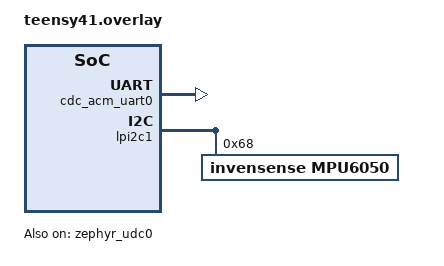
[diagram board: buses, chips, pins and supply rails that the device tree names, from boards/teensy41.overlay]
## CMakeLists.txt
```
#
# Copyright (c) 2019 Nordic Semiconductor ASA
#
# SPDX-License-Identifier: Apache-2.0
#

cmake_minimum_required(VERSION 3.20.0)
find_package(Zephyr REQUIRED HINTS $ENV{ZEPHYR_BASE})
project(teensyTest)

FILE(GLOB app_sources src/*.c)
target_sources(app PRIVATE ${app_sources})
```

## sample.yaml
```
#
# Copyright (c) 2019 Nordic Semiconductor ASA
#
# SPDX-License-Identifier: Apache-2.0
#

sample:
  name: MPU6050 Sensor Sample
tests:
  sample.sensor.mpu6050:
    build_only: true
    platform_allow: teensy41
    tags: sensors
    integration_platforms:
      - teensy41
```

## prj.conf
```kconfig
#
# Copyright (c) 2019 Nordic Semiconductor ASA
#
# SPDX-License-Identifier: Apache-2.0
#

CONFIG_I2C=y
CONFIG_SENSOR=y
# CONFIG_LOG=y
# CONFIG_CONSOLE = y
# CONFIG_SERIAL = y
# CONFIG_BOOT_BANNER = y
CONFIG_MPU6050_TRIGGER_NONE=y
CONFIG_CBPRINTF_FP_SUPPORT=y


CONFIG_USB_DEVICE_STACK=y
CONFIG_USB_DEVICE_PRODUCT="Zephyr USB console sample"
CONFIG_USB_DEVICE_PID=0x0004
CONFIG_USB_DEVICE_INITIALIZE_AT_BOOT=n

CONFIG_SERIAL=y
CONFIG_CONSOLE=y
CONFIG_UART_CONSOLE=y
CONFIG_UART_LINE_CTRL=y
```

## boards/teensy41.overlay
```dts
/ {
    chosen {
	zephyr,console = &cdc_acm_uart0;
};
};


&zephyr_udc0 {
	compatible = "nxp,mcux-usbd";
	status = "okay";
	cdc_acm_uart0: cdc_acm_uart0{
		compatible = "zephyr,cdc-acm-uart";
	};
};


&lpi2c1 {
   status = "ok";
	mpu6050@68 {
		compatible = "invensense,mpu6050";
		reg = <0x68>;
		status = "okay";
	};
};
```

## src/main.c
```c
#include <zephyr/kernel.h>
#include <zephyr/device.h>
#include <zephyr/devicetree.h>
#include <zephyr/drivers/sensor.h>
#include <zephyr/logging/log.h>
#include <zephyr/drivers/gpio.h>
#include <zephyr/usb/usb_device.h>
#include <zephyr/drivers/sensor.h>
#include <stdio.h>

#define SLEEP_TIME_MS   200
#define LED0_NODE DT_NODELABEL(board_led)
static const struct gpio_dt_spec led = GPIO_DT_SPEC_GET(LED0_NODE, gpios);

static const char *now_str(void)
{
	static char buf[16]; /* ...HH:MM:SS.MMM */
	uint32_t now = k_uptime_get_32();
	unsigned int ms = now % MSEC_PER_SEC;
	unsigned int s;
	unsigned int min;
	unsigned int h;

	now /= MSEC_PER_SEC;
	s = now % 60U;
	now /= 60U;
	min = now % 60U;
	now /= 60U;
	h = now;

	snprintf(buf, sizeof(buf), "%u:%02u:%02u.%03u",
		 h, min, s, ms);
	return buf;
}

static int process_mpu6050(const struct device *dev)
{
	struct sensor_value temperature;
	struct sensor_value accel[3];
	struct sensor_value gyro[3];
	int rc = sensor_sample_fetch(dev);

	if (rc == 0) {
		rc = sensor_channel_get(dev, SENSOR_CHAN_ACCEL_XYZ,
					accel);
	}
	if (rc == 0) {
		rc = sensor_channel_get(dev, SENSOR_CHAN_GYRO_XYZ,
					gyro);
	}
	if (rc == 0) {
		rc = sensor_channel_get(dev, SENSOR_CHAN_AMBIENT_TEMP,
					&temperature);
	}
	if (rc == 0) {
		printk("[%s]:%g Cel\n"
		       "  accel %f %f %f m/s/s\n"
		       "  gyro  %f %f %f rad/s\n",
		       now_str(),
		       sensor_value_to_double(&temperature),
		       sensor_value_to_double(&accel[0]),
		       sensor_value_to_double(&accel[1]),
		       sensor_value_to_double(&accel[2]),
		       sensor_value_to_double(&gyro[0]),
		       sensor_value_to_double(&gyro[1]),
		       sensor_value_to_double(&gyro[2]));
	} else {
		printk("sample fetch/get failed: %d\n", rc);
	}

	return rc;
}

void main(void)
{

	
    usb_enable(NULL);

    int ret;

	const struct device *dev = DEVICE_DT_GET_ONE(invensense_mpu6050);

    if (dev != NULL)
    {
        printk("\nDevice found on Teensy DTS");
    }

    if (device_is_ready(dev))
    {
        ret = gpio_pin_toggle_dt(&led);
        printk("\nDevice %s is ready\n", dev->name);
    }

	

    while (!IS_ENABLED(CONFIG_MPU6050_TRIGGER)) {
		int rc = process_mpu6050(dev);

		if (rc != 0) {
			break;
		}
		k_sleep(K_SECONDS(2));
	}

    // while (1) {

    //     if (dev != NULL)
    //     {
    //         printk("\nDevice found on Teensy DTS");
    //     }

    //     if (device_is_ready(dev))
    //     {
    //         ret = gpio_pin_toggle_dt(&led);
    //         printk("\nDevice %s is ready\n", dev->name);
    //     }
    //     // else{
    //     //     printk("Device %s is not ready\n", dev->name);
    //     //     ret = gpio_pin_toggle_dt(&led);

    //     // }
	// 	// ret = gpio_pin_toggle_dt(&led);
    //     // printk("Device %s is not ready\n", dev->name);
	// 	if (ret < 0) {
	// 		return;
	// 	}
	// 	k_msleep(SLEEP_TIME_MS);
	// }
    // return;
    // LOG_INF("Found device %s. Reading sensor data\n", dev->name);

	// printk("Found device %s. Reading sensor data\n", dev->name);

	
}
```
